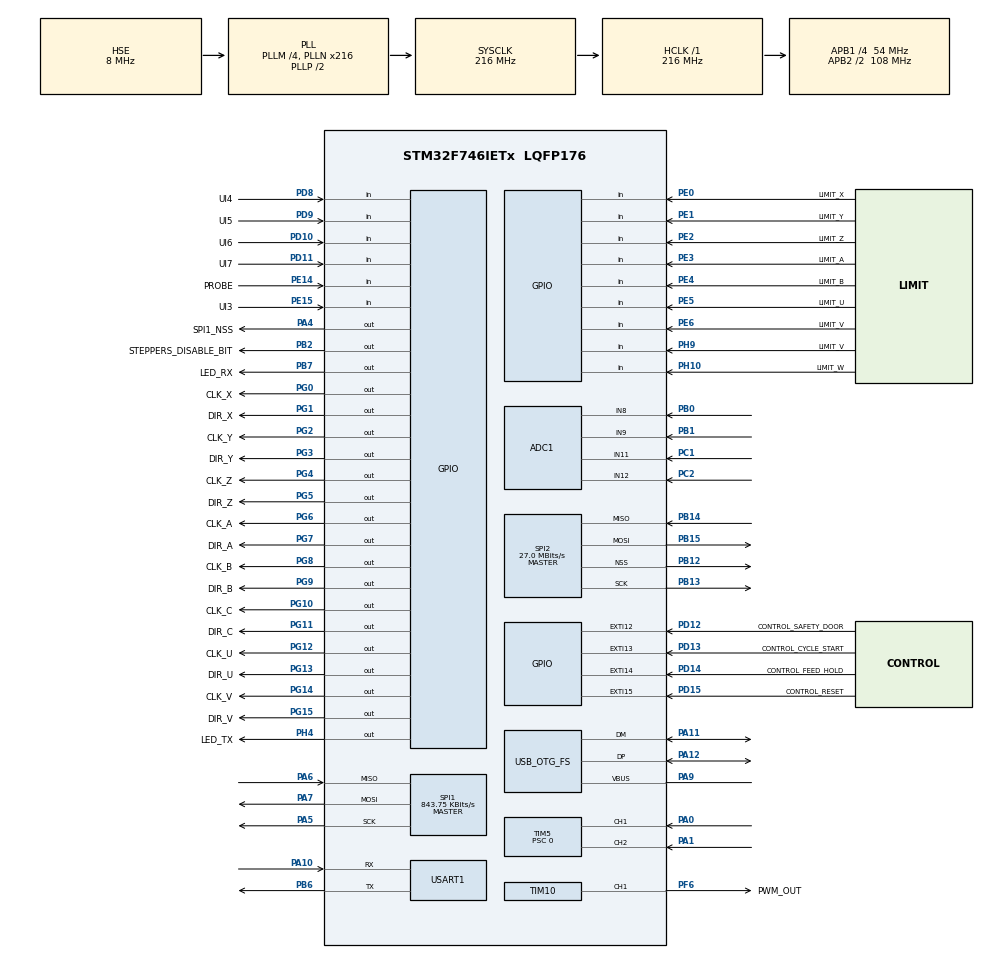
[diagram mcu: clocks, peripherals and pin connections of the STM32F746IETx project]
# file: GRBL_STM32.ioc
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ADC1.Channel-0\#ChannelRegularConversion=ADC_CHANNEL_8
ADC1.Channel-1\#ChannelRegularConversion=ADC_CHANNEL_9
ADC1.Channel-2\#ChannelRegularConversion=ADC_CHANNEL_11
ADC1.Channel-3\#ChannelRegularConversion=ADC_CHANNEL_12
ADC1.ClockPrescaler=ADC_CLOCK_SYNC_PCLK_DIV8
ADC1.ContinuousConvMode=ENABLE
ADC1.DMAContinuousRequests=ENABLE
ADC1.NbrOfConversion=4
ADC1.NbrOfConversionFlag=1
ADC1.Rank-0\#ChannelRegularConversion=1
ADC1.Rank-1\#ChannelRegularConversion=2
ADC1.Rank-2\#ChannelRegularConversion=3
ADC1.Rank-3\#ChannelRegularConversion=4
ADC1.SamplingTime-0\#ChannelRegularConversion=ADC_SAMPLETIME_480CYCLES
ADC1.SamplingTime-1\#ChannelRegularConversion=ADC_SAMPLETIME_480CYCLES
ADC1.SamplingTime-2\#ChannelRegularConversion=ADC_SAMPLETIME_480CYCLES
ADC1.SamplingTime-3\#ChannelRegularConversion=ADC_SAMPLETIME_480CYCLES
ADC1.ScanConvMode=ENABLE
ADC1.master=1
Dma.ADC1.0.Direction=DMA_PERIPH_TO_MEMORY
Dma.ADC1.0.FIFOMode=DMA_FIFOMODE_DISABLE
Dma.ADC1.0.Instance=DMA2_Stream4
Dma.ADC1.0.MemDataAlignment=DMA_MDATAALIGN_WORD
Dma.ADC1.0.MemInc=DMA_MINC_ENABLE
Dma.ADC1.0.Mode=DMA_CIRCULAR
Dma.ADC1.0.PeriphDataAlignment=DMA_PDATAALIGN_WORD
Dma.ADC1.0.PeriphInc=DMA_PINC_DISABLE
Dma.ADC1.0.Priority=DMA_PRIORITY_LOW
Dma.MEMTOMEM.1.Direction=DMA_MEMORY_TO_MEMORY
Dma.MEMTOMEM.1.FIFOMode=DMA_FIFOMODE_ENABLE
Dma.MEMTOMEM.1.FIFOThreshold=DMA_FIFO_THRESHOLD_FULL
Dma.MEMTOMEM.1.Instance=DMA2_Stream0
Dma.MEMTOMEM.1.MemBurst=DMA_MBURST_SINGLE
Dma.MEMTOMEM.1.MemDataAlignment=DMA_MDATAALIGN_WORD
Dma.MEMTOMEM.1.MemInc=DMA_MINC_ENABLE
Dma.MEMTOMEM.1.Mode=DMA_NORMAL
Dma.MEMTOMEM.1.PeriphBurst=DMA_PBURST_SINGLE
Dma.MEMTOMEM.1.PeriphDataAlignment=DMA_PDATAALIGN_WORD
Dma.MEMTOMEM.1.PeriphInc=DMA_PINC_ENABLE
Dma.MEMTOMEM.1.Priority=DMA_PRIORITY_HIGH
Dma.Request0=ADC1
Dma.Request1=MEMTOMEM
Dma.Request2=SPI2_TX
Dma.SPI2_TX.2.Direction=DMA_MEMORY_TO_PERIPH
Dma.SPI2_TX.2.FIFOMode=DMA_FIFOMODE_DISABLE
Dma.SPI2_TX.2.Instance=DMA1_Stream4
Dma.SPI2_TX.2.MemDataAlignment=DMA_MDATAALIGN_BYTE
Dma.SPI2_TX.2.MemInc=DMA_MINC_ENABLE
Dma.SPI2_TX.2.Mode=DMA_NORMAL
Dma.SPI2_TX.2.PeriphDataAlignment=DMA_PDATAALIGN_BYTE
Dma.SPI2_TX.2.PeriphInc=DMA_PINC_DISABLE
Dma.SPI2_TX.2.Priority=DMA_PRIORITY_VERY_HIGH
FREERTOS.Tasks01=defaultTask,0,1024,StartDefaultTask,Default,NULL,Dynamic,NULL,NULL
FREERTOS.configMINIMAL_STACK_SIZE=1024
Mcu.Family=STM32F7
Mcu.Name=STM32F746IETx
Mcu.Package=LQFP176
NVIC.DMA1_Stream4_IRQn=true\:5\:0\:false\:false\:true\:true\:false
NVIC.DMA2_Stream4_IRQn=true\:5\:0\:false\:false\:true\:true\:false
NVIC.EXTI15_10_IRQn=true\:0\:0\:true\:false\:true\:false\:true
NVIC.OTG_FS_IRQn=true\:5\:0\:false\:false\:true\:true\:false
NVIC.PriorityGroup=NVIC_PRIORITYGROUP_4
NVIC.TIM1_UP_TIM10_IRQn=true\:0\:0\:false\:false\:true\:false\:false
NVIC.TIM2_IRQn=true\:5\:0\:true\:false\:true\:false\:true
NVIC.TIM3_IRQn=true\:1\:0\:true\:false\:true\:false\:true
NVIC.TIM5_IRQn=true\:7\:0\:true\:false\:true\:true\:true
NVIC.TimeBase=TIM1_UP_TIM10_IRQn
NVIC.TimeBaseIP=TIM1
PA0/WKUP.GPIO_PuPd=GPIO_PULLUP
PA0/WKUP.Signal=S_TIM5_CH1
PA1.GPIO_PuPd=GPIO_PULLUP
PA1.Signal=S_TIM5_CH2
PA10.Mode=Asynchronous
PA10.Signal=USART1_RX
PA11.Mode=Device_Only
PA11.Signal=USB_OTG_FS_DM
PA12.Mode=Device_Only
PA12.Signal=USB_OTG_FS_DP
PA13.Mode=JTAG_5_pins
PA13.Signal=SYS_JTMS-SWDIO
PA14.Mode=JTAG_5_pins
PA14.Signal=SYS_JTCK-SWCLK
PA15.Mode=JTAG_5_pins
PA15.Signal=SYS_JTDI
PA4.GPIO_Label=SPI1_NSS
PA4.Signal=GPIO_Output
PA5.Mode=Full_Duplex_Master
PA5.Signal=SPI1_SCK
PA6.Mode=Full_Duplex_Master
PA6.Signal=SPI1_MISO
PA7.Mode=Full_Duplex_Master
PA7.Signal=SPI1_MOSI
PA9.Mode=Activate_VBUS
PA9.Signal=USB_OTG_FS_VBUS
PB0.Signal=ADCx_IN8
PB1.Signal=ADCx_IN9
PB12.Mode=NSS_Signal_Hard_Output
PB12.Signal=SPI2_NSS
PB13.Mode=Full_Duplex_Master
PB13.Signal=SPI2_SCK
PB14.Mode=Full_Duplex_Master
PB14.Signal=SPI2_MISO
PB15.Mode=Full_Duplex_Master
PB15.Signal=SPI2_MOSI
PB2.GPIO_Label=STEPPERS_DISABLE_BIT
PB2.Signal=GPIO_Output
PB3.Mode=JTAG_5_pins
PB3.Signal=SYS_JTDO-SWO
PB4.Mode=JTAG_5_pins
PB4.Signal=SYS_JTRST
PB6.Mode=Asynchronous
PB6.Signal=USART1_TX
PB7.GPIO_Label=LED_RX
PB7.Signal=GPIO_Output
PC1.Signal=ADCx_IN11
PC2.Signal=ADCx_IN12
PD10.GPIO_Label=UI6
PD10.GPIO_PuPd=GPIO_PULLUP
PD10.Signal=GPIO_Input
PD11.GPIO_Label=UI7
PD11.GPIO_PuPd=GPIO_PULLUP
PD11.Signal=GPIO_Input
PD12.GPIO_Label=CONTROL_SAFETY_DOOR
PD12.GPIO_ModeDefaultEXTI=GPIO_MODE_IT_FALLING
PD12.GPIO_PuPd=GPIO_PULLUP
PD12.Signal=GPXTI12
PD13.GPIO_Label=CONTROL_CYCLE_START
PD13.GPIO_ModeDefaultEXTI=GPIO_MODE_IT_FALLING
PD13.GPIO_PuPd=GPIO_PULLUP
PD13.Signal=GPXTI13
PD14.GPIO_Label=CONTROL_FEED_HOLD
PD14.GPIO_ModeDefaultEXTI=GPIO_MODE_IT_FALLING
PD14.GPIO_PuPd=GPIO_PULLUP
PD14.Signal=GPXTI14
PD15.GPIO_Label=CONTROL_RESET
PD15.GPIO_ModeDefaultEXTI=GPIO_MODE_IT_FALLING
PD15.GPIO_PuPd=GPIO_PULLUP
PD15.Signal=GPXTI15
PD8.GPIO_Label=UI4
PD8.GPIO_PuPd=GPIO_PULLUP
PD8.Signal=GPIO_Input
PD9.GPIO_Label=UI5
PD9.GPIO_PuPd=GPIO_PULLUP
PD9.Signal=GPIO_Input
PE0.GPIO_Label=LIMIT_X
PE0.Signal=GPIO_Input
PE1.GPIO_Label=LIMIT_Y
PE1.Signal=GPIO_Input
PE14.GPIO_Label=PROBE
PE14.GPIO_PuPd=GPIO_PULLUP
PE14.Signal=GPIO_Input
PE15.GPIO_Label=UI3
PE15.GPIO_PuPd=GPIO_PULLUP
PE15.Signal=GPIO_Input
PE2.GPIO_Label=LIMIT_Z
PE2.Signal=GPIO_Input
PE3.GPIO_Label=LIMIT_A
PE3.Signal=GPIO_Input
PE4.GPIO_Label=LIMIT_B
PE4.Signal=GPIO_Input
PE5.GPIO_Label=LIMIT_U
PE5.Signal=GPIO_Input
PE6.GPIO_Label=LIMIT_V
PE6.Signal=GPIO_Input
PF6.GPIO_Label=PWM_OUT
PF6.Signal=S_TIM10_CH1
PG0.GPIO_Label=CLK_X
PG0.Signal=GPIO_Output
PG1.GPIO_Label=DIR_X
PG1.Signal=GPIO_Output
PG10.GPIO_Label=CLK_C
PG10.Signal=GPIO_Output
PG11.GPIO_Label=DIR_C
PG11.Signal=GPIO_Output
PG12.GPIO_Label=CLK_U
PG12.Signal=GPIO_Output
PG13.GPIO_Label=DIR_U
PG13.Signal=GPIO_Output
PG14.GPIO_Label=CLK_V
PG14.Signal=GPIO_Output
PG15.GPIO_Label=DIR_V
PG15.Signal=GPIO_Output
PG2.GPIO_Label=CLK_Y
PG2.Signal=GPIO_Output
PG3.GPIO_Label=DIR_Y
PG3.Signal=GPIO_Output
PG4.GPIO_Label=CLK_Z
PG4.Signal=GPIO_Output
PG5.GPIO_Label=DIR_Z
PG5.Signal=GPIO_Output
PG6.GPIO_Label=CLK_A
PG6.Signal=GPIO_Output
PG7.GPIO_Label=DIR_A
PG7.Signal=GPIO_Output
PG8.GPIO_Label=CLK_B
PG8.Signal=GPIO_Output
PG9.GPIO_Label=DIR_B
PG9.Signal=GPIO_Output
PH0/OSC_IN.Mode=HSE-External-Oscillator
PH0/OSC_IN.Signal=RCC_OSC_IN
PH1/OSC_OUT.Mode=HSE-External-Oscillator
PH1/OSC_OUT.Signal=RCC_OSC_OUT
PH10.GPIO_Label=LIMIT_W
PH10.Signal=GPIO_Input
PH4.GPIO_Label=LED_TX
PH4.Signal=GPIO_Output
PH9.GPIO_Label=LIMIT_V
PH9.Signal=GPIO_Input
ProjectManager.HeapSize=0x8000
ProjectManager.StackSize=0x400
ProjectManager.TargetToolchain=SW4STM32
RCC.AHBFreq_Value=216000000
RCC.APB1CLKDivider=RCC_HCLK_DIV4
RCC.APB1Freq_Value=54000000
RCC.APB1TimFreq_Value=108000000
RCC.APB2CLKDivider=RCC_HCLK_DIV2
RCC.APB2Freq_Value=108000000
RCC.APB2TimFreq_Value=216000000
RCC.CortexFreq_Value=216000000
RCC.HCLKFreq_Value=216000000
RCC.HSE_VALUE=8000000
RCC.HSI_VALUE=16000000
RCC.LSE_VALUE=32768
RCC.PLLM=4
RCC.PLLN=216
RCC.PLLQ=9
RCC.SYSCLKFreq_VALUE=216000000
RCC.SYSCLKSource=RCC_SYSCLKSOURCE_PLLCLK
RCC.USBFreq_Value=48000000
RCC.VCOOutputFreq_Value=432000000
SH.ADCx_IN11.0=ADC1_IN11,IN11
SH.ADCx_IN12.0=ADC1_IN12,IN12
SH.ADCx_IN8.0=ADC1_IN8,IN8
SH.ADCx_IN9.0=ADC1_IN9,IN9
SH.S_TIM10_CH1.0=TIM10_CH1,PWM Generation1 CH1
SH.S_TIM5_CH1.0=TIM5_CH1,Encoder_Interface
SH.S_TIM5_CH2.0=TIM5_CH2,Encoder_Interface
SPI1.BaudRatePrescaler=SPI_BAUDRATEPRESCALER_128
SPI1.CLKPhase=SPI_PHASE_2EDGE
SPI1.CLKPolarity=SPI_POLARITY_HIGH
SPI1.CalculateBaudRate=843.75 KBits/s
SPI1.DataSize=SPI_DATASIZE_8BIT
SPI1.Direction=SPI_DIRECTION_2LINES
SPI1.Mode=SPI_MODE_MASTER
SPI1.VirtualType=VM_MASTER
SPI2.CalculateBaudRate=27.0 MBits/s
SPI2.DataSize=SPI_DATASIZE_16BIT
SPI2.Direction=SPI_DIRECTION_2LINES
SPI2.Mode=SPI_MODE_MASTER
SPI2.VirtualNSS=VM_NSSHARD
SPI2.VirtualType=VM_MASTER
TIM10.Channel=TIM_CHANNEL_1
TIM10.Period=2000-1
TIM10.Prescaler=1080-1
TIM2.TIM_MasterOutputTrigger=TIM_TRGO_UPDATE
TIM2.TIM_MasterSlaveMode=TIM_MASTERSLAVEMODE_DISABLE
TIM5.AutoReloadPreload=TIM_AUTORELOAD_PRELOAD_DISABLE
TIM5.EncoderMode=TIM_ENCODERMODE_TI12
TIM5.IC1Filter=10
TIM5.IC1Prescaler=TIM_ICPSC_DIV4
TIM5.IC2Filter=10
TIM5.IC2Prescaler=TIM_ICPSC_DIV4
TIM5.Period=100
TIM5.Prescaler=0
TIM5.TIM_MasterOutputTrigger=TIM_TRGO_UPDATE
USART1.VirtualMode-Asynchronous=VM_ASYNC
USB_DEVICE.CLASS_NAME_FS=CDC
USB_DEVICE.VirtualMode-CDC_FS=Cdc
USB_DEVICE.VirtualModeFS=Cdc_FS
USB_OTG_FS.Sof_enable=ENABLE
USB_OTG_FS.VirtualMode=Device_Only
VP_FREERTOS_VS_ENABLE.Mode=Enabled
VP_SYS_VS_tim1.Mode=TIM1
VP_TIM10_VS_ClockSourceINT.Mode=Enable_Timer
VP_TIM2_VS_ClockSourceINT.Mode=Internal
VP_TIM3_VS_ClockSourceINT.Mode=Internal
VP_USB_DEVICE_VS_USB_DEVICE_CDC_FS.Mode=CDC_FS
board=GRBL_STM32

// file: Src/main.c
/**
  ******************************************************************************
  * @file           : main.c
  * @brief          : Main program body
  ******************************************************************************
  * This notice applies to any and all portions of this file
  * that are not between comment pairs USER CODE BEGIN and
  * USER CODE END. Other portions of this file, whether
  * inserted by the user or by software development tools
  * are owned by their respective copyright owners.
  *
  * Copyright (c) 2020 STMicroelectronics International N.V.
  * All rights reserved.
  *
  * Redistribution and use in source and binary forms, with or without
  * modification, are permitted, provided that the following conditions are met:
  *
  * 1. Redistribution of source code must retain the above copyright notice,
  *    this list of conditions and the following disclaimer.
  * 2. Redistributions in binary form must reproduce the above copyright notice,
  *    this list of conditions and the following disclaimer in the documentation
  *    and/or other materials provided with the distribution.
  * 3. Neither the name of STMicroelectronics nor the names of other
  *    contributors to this software may be used to endorse or promote products
  *    derived from this software without specific written permission.
  * 4. This software, including modifications and/or derivative works of this
  *    software, must execute solely and exclusively on microcontroller or
  *    microprocessor devices manufactured by or for STMicroelectronics.
  * 5. Redistribution and use of this software other than as permitted under
  *    this license is void and will automatically terminate your rights under
  *    this license.
  *
  * THIS SOFTWARE IS PROVIDED BY STMICROELECTRONICS AND CONTRIBUTORS "AS IS"
  * AND ANY EXPRESS, IMPLIED OR STATUTORY WARRANTIES, INCLUDING, BUT NOT
  * LIMITED TO, THE IMPLIED WARRANTIES OF MERCHANTABILITY, FITNESS FOR A
  * PARTICULAR PURPOSE AND NON-INFRINGEMENT OF THIRD PARTY INTELLECTUAL PROPERTY
  * RIGHTS ARE DISCLAIMED TO THE FULLEST EXTENT PERMITTED BY LAW. IN NO EVENT
  * SHALL STMICROELECTRONICS OR CONTRIBUTORS BE LIABLE FOR ANY DIRECT, INDIRECT,
  * INCIDENTAL, SPECIAL, EXEMPLARY, OR CONSEQUENTIAL DAMAGES (INCLUDING, BUT NOT
  * LIMITED TO, PROCUREMENT OF SUBSTITUTE GOODS OR SERVICES; LOSS OF USE, DATA,
  * OR PROFITS; OR BUSINESS INTERRUPTION) HOWEVER CAUSED AND ON ANY THEORY OF
  * LIABILITY, WHETHER IN CONTRACT, STRICT LIABILITY, OR TORT (INCLUDING
  * NEGLIGENCE OR OTHERWISE) ARISING IN ANY WAY OUT OF THE USE OF THIS SOFTWARE,
  * EVEN IF ADVISED OF THE POSSIBILITY OF SUCH DAMAGE.
  *
  ******************************************************************************
  */
#include "main.h"
#include "stm32f7xx_hal.h"
#include "cmsis_os.h"
#include "adc.h"
#include "dma.h"
#include "spi.h"
#include "tim.h"
#include "usart.h"
#include "usb_device.h"
#include "gpio.h"

/* USER CODE BEGIN PV */
/* Private variables ---------------------------------------------------------*/

/* USER CODE END PV */

void SystemClock_Config(void);
void MX_FREERTOS_Init(void);

/* USER CODE BEGIN PFP */
/* Private function prototypes -----------------------------------------------*/

/* USER CODE END PFP */

/* USER CODE BEGIN 0 */

extern void _TIM2_IRQHandler(void);
extern void _TIM3_IRQHandler(void);

/* USER CODE END 0 */

int main(void)
{

  /* MCU Configuration----------------------------------------------------------*/

  /* Reset of all peripherals, Initializes the Flash interface and the Systick. */
  HAL_Init();

  /* Configure the system clock */
  SystemClock_Config();

  /* Initialize all configured peripherals */
  MX_GPIO_Init();
  MX_DMA_Init();
  MX_USART1_UART_Init();
  MX_TIM10_Init();
  MX_ADC1_Init();
  MX_SPI2_Init();
  MX_TIM2_Init();
  MX_TIM5_Init();
  MX_TIM3_Init();
  MX_SPI1_Init();
  /* USER CODE BEGIN 2 */
  HAL_TIM_Base_Start_IT(&htim2);
  HAL_TIM_Base_Start_IT(&htim3);
  HAL_TIM_Encoder_Start_IT(&htim5,htim5.Channel);
  /* USER CODE END 2 */

  /* Call init function for freertos objects (in freertos.c) */
  MX_FREERTOS_Init();

  /* Start scheduler */
  osKernelStart();

  /* We should never get here as control is now taken by the scheduler */

  /* Infinite loop */
  while (1)
  {

  }

}

void SystemClock_Config(void)
{

  RCC_OscInitTypeDef RCC_OscInitStruct;
  RCC_ClkInitTypeDef RCC_ClkInitStruct;
  RCC_PeriphCLKInitTypeDef PeriphClkInitStruct;

    /**Configure the main internal regulator output voltage
    */
  __HAL_RCC_PWR_CLK_ENABLE();

  __HAL_PWR_VOLTAGESCALING_CONFIG(PWR_REGULATOR_VOLTAGE_SCALE1);

    /**Initializes the CPU, AHB and APB busses clocks
    */
  RCC_OscInitStruct.OscillatorType = RCC_OSCILLATORTYPE_HSE;
  RCC_OscInitStruct.HSEState = RCC_HSE_ON;
  RCC_OscInitStruct.PLL.PLLState = RCC_PLL_ON;
  RCC_OscInitStruct.PLL.PLLSource = RCC_PLLSOURCE_HSE;
  RCC_OscInitStruct.PLL.PLLM = 4;
  RCC_OscInitStruct.PLL.PLLN = 216;
  RCC_OscInitStruct.PLL.PLLP = RCC_PLLP_DIV2;
  RCC_OscInitStruct.PLL.PLLQ = 9;
  if (HAL_RCC_OscConfig(&RCC_OscInitStruct) != HAL_OK)
  {
    _Error_Handler(__FILE__, __LINE__);
  }

    /**Activate the Over-Drive mode
    */
  if (HAL_PWREx_EnableOverDrive() != HAL_OK)
  {
    _Error_Handler(__FILE__, __LINE__);
  }

    /**Initializes the CPU, AHB and APB busses clocks
    */
  RCC_ClkInitStruct.ClockType = RCC_CLOCKTYPE_HCLK|RCC_CLOCKTYPE_SYSCLK
                              |RCC_CLOCKTYPE_PCLK1|RCC_CLOCKTYPE_PCLK2;
  RCC_ClkInitStruct.SYSCLKSource = RCC_SYSCLKSOURCE_PLLCLK;
  RCC_ClkInitStruct.AHBCLKDivider = RCC_SYSCLK_DIV1;
  RCC_ClkInitStruct.APB1CLKDivider = RCC_HCLK_DIV4;
  RCC_ClkInitStruct.APB2CLKDivider = RCC_HCLK_DIV2;

  if (HAL_RCC_ClockConfig(&RCC_ClkInitStruct, FLASH_LATENCY_7) != HAL_OK)
  {
    _Error_Handler(__FILE__, __LINE__);
  }

  PeriphClkInitStruct.PeriphClockSelection = RCC_PERIPHCLK_USART1|RCC_PERIPHCLK_CLK48;
  PeriphClkInitStruct.Usart1ClockSelection = RCC_USART1CLKSOURCE_PCLK2;
  PeriphClkInitStruct.Clk48ClockSelection = RCC_CLK48SOURCE_PLL;
  if (HAL_RCCEx_PeriphCLKConfig(&PeriphClkInitStruct) != HAL_OK)
  {
    _Error_Handler(__FILE__, __LINE__);
  }

    /**Configure the Systick interrupt time
    */
  HAL_SYSTICK_Config(HAL_RCC_GetHCLKFreq()/1000);

    /**Configure the Systick
    */
  HAL_SYSTICK_CLKSourceConfig(SYSTICK_CLKSOURCE_HCLK);

  /* SysTick_IRQn interrupt configuration */
  HAL_NVIC_SetPriority(SysTick_IRQn, 15, 0);
}

void HAL_TIM_PeriodElapsedCallback(TIM_HandleTypeDef *htim)
{
  if (htim->Instance == TIM1) {
    HAL_IncTick();
  }
  /* USER CODE BEGIN Callback 1 */
  if (htim->Instance == TIM2) {
	  _TIM2_IRQHandler();
    }
  if (htim->Instance == TIM3) {
  	  _TIM3_IRQHandler();
      }
  /* USER CODE END Callback 1 */
}

void _Error_Handler(char *file, int line)
{
  while(1)
  {
  }
}

/************************ (C) COPYRIGHT STMicroelectronics *****END OF FILE****/

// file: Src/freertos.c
/**
  ******************************************************************************
  * File Name          : freertos.c
  * Description        : Code for freertos applications
  ******************************************************************************
  * This notice applies to any and all portions of this file
  * that are not between comment pairs USER CODE BEGIN and
  * USER CODE END. Other portions of this file, whether
  * inserted by the user or by software development tools
  * are owned by their respective copyright owners.
  *
  * Copyright (c) 2020 STMicroelectronics International N.V.
  * All rights reserved.
  *
  * Redistribution and use in source and binary forms, with or without
  * modification, are permitted, provided that the following conditions are met:
  *
  * 1. Redistribution of source code must retain the above copyright notice,
  *    this list of conditions and the following disclaimer.
  * 2. Redistributions in binary form must reproduce the above copyright notice,
  *    this list of conditions and the following disclaimer in the documentation
  *    and/or other materials provided with the distribution.
  * 3. Neither the name of STMicroelectronics nor the names of other
  *    contributors to this software may be used to endorse or promote products
  *    derived from this software without specific written permission.
  * 4. This software, including modifications and/or derivative works of this
  *    software, must execute solely and exclusively on microcontroller or
  *    microprocessor devices manufactured by or for STMicroelectronics.
  * 5. Redistribution and use of this software other than as permitted under
  *    this license is void and will automatically terminate your rights under
  *    this license.
  *
  * THIS SOFTWARE IS PROVIDED BY STMICROELECTRONICS AND CONTRIBUTORS "AS IS"
  * AND ANY EXPRESS, IMPLIED OR STATUTORY WARRANTIES, INCLUDING, BUT NOT
  * LIMITED TO, THE IMPLIED WARRANTIES OF MERCHANTABILITY, FITNESS FOR A
  * PARTICULAR PURPOSE AND NON-INFRINGEMENT OF THIRD PARTY INTELLECTUAL PROPERTY
  * RIGHTS ARE DISCLAIMED TO THE FULLEST EXTENT PERMITTED BY LAW. IN NO EVENT
  * SHALL STMICROELECTRONICS OR CONTRIBUTORS BE LIABLE FOR ANY DIRECT, INDIRECT,
  * INCIDENTAL, SPECIAL, EXEMPLARY, OR CONSEQUENTIAL DAMAGES (INCLUDING, BUT NOT
  * LIMITED TO, PROCUREMENT OF SUBSTITUTE GOODS OR SERVICES; LOSS OF USE, DATA,
  * OR PROFITS; OR BUSINESS INTERRUPTION) HOWEVER CAUSED AND ON ANY THEORY OF
  * LIABILITY, WHETHER IN CONTRACT, STRICT LIABILITY, OR TORT (INCLUDING
  * NEGLIGENCE OR OTHERWISE) ARISING IN ANY WAY OUT OF THE USE OF THIS SOFTWARE,
  * EVEN IF ADVISED OF THE POSSIBILITY OF SUCH DAMAGE.
  *
  ******************************************************************************
  */

#include "FreeRTOS.h"
#include "task.h"
#include "cmsis_os.h"

/* USER CODE BEGIN Includes */
#include "..\grbl\grbl.h"
extern ADC_HandleTypeDef hadc1;
extern setup _setup;
/* USER CODE END Includes */

osThreadId defaultTaskHandle;

void StartDefaultTask(void const * argument);

extern void MX_USB_DEVICE_Init(void);
void MX_FREERTOS_Init(void); /* (MISRA C 2004 rule 8.1) */

/* Hook prototypes */

/* Init FreeRTOS */

void MX_FREERTOS_Init(void) {

  /* Create the thread(s) */
  /* definition and creation of defaultTask */
  osThreadDef(defaultTask, StartDefaultTask, osPriorityNormal, 0, 1024);
  defaultTaskHandle = osThreadCreate(osThread(defaultTask), NULL);

}

/* StartDefaultTask function */
void StartDefaultTask(void const * argument)
{
  /* init code for USB_DEVICE */
  MX_USB_DEVICE_Init();

  /* USER CODE BEGIN StartDefaultTask */
  // Start all ADC
  HAL_ADC_Start(&hadc1);
  HAL_ADC_Start_DMA(&hadc1, (uint32_t*)_setup.parameters_ext, 5);

  /* USER CODE BEGIN StartDefaultTask */
  delay_ms(100);
  grbl_init();
  /* Infinite loop */
  for(;;)
  {
    osDelay(1);
  }
  /* USER CODE END StartDefaultTask */
}

/************************ (C) COPYRIGHT STMicroelectronics *****END OF FILE****/
